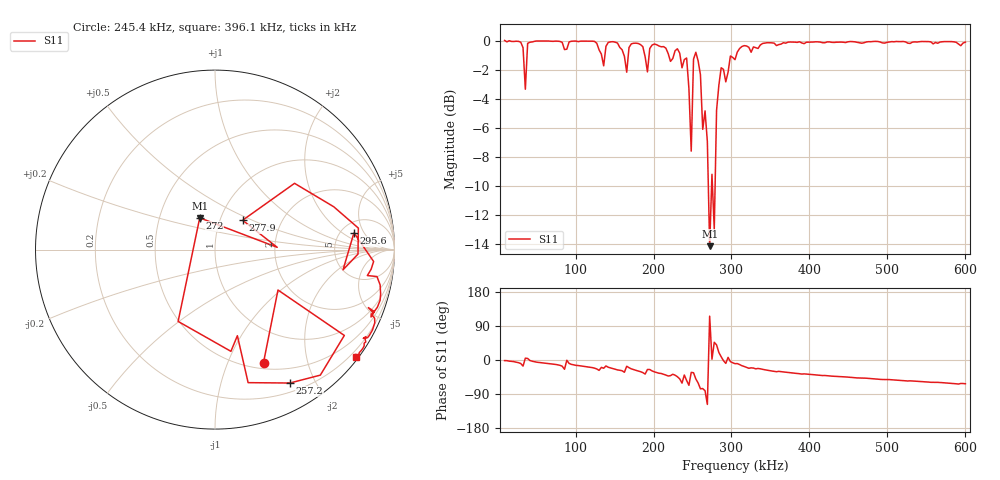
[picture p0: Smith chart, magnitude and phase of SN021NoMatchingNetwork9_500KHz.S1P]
!Agilent Technologies,E5071C,MY46100265,A.07.02
!Date: Mon Jan 27 12:21:24 2020
!Data & Calibration Information:
!Freq	S11:SOLT1(OFF)
# Hz S dB R 50
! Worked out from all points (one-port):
!   201 points, 9 kHz to 600 kHz, reference 50 ohm
!   lowest |S11| = -14.1 dB at 272 kHz (marker M1), VSWR 1.49, Z = 39.8 + j14.6 ohm
!   |S11| at or under -10 dB: 270.3 kHz to 274.5 kHz (4.173 kHz wide, 1.53 % of centre); 275.6 kHz to 279 kHz (3.397 kHz wide, 1.23 % of centre)
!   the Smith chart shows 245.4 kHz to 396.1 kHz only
!   S11 on the Smith chart (normalised r, x): 245.4 kHz: 0.57, -1.36; 257.2 kHz: 0.31, -1.67; 272 kHz: 0.80, +0.29; 277.9 kHz: 1.28, +0.44; 295.6 kHz: 6.56, +3.14; 396.1 kHz: 0.06, -2.98
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9000  0.02 -1.6
32640  -0.47 -16.1
35595  -3.34 4.8
38550  -0.18 4.1
82875  -0.11 -16.4
85830  -0.60 -24.4
88785  -0.58 -0.7
156750  -0.46 -27.1
165615  -2.16 -16.5
230625  -0.55 -44.2
236535  -1.86 -61.0
239490  -1.29 -39.6
245400  -3.29 -66.8
248355  -7.60 -32.7
251310  -1.26 -33.6
257220  -1.39 -60.7
269040  -6.94 -117.2
271995  -14.14 115.7
274950  -9.20 2.1
277905  -12.97 46.8
286770  -1.86 8.5
295635  -2.16 6.9
304500  -1.30 -9.7
378375  -0.08 -34.3
396105  -0.10 -37.1
452250  -0.05 -45.7
526125  -0.16 -55.4
600000  -0.09 -62.7
